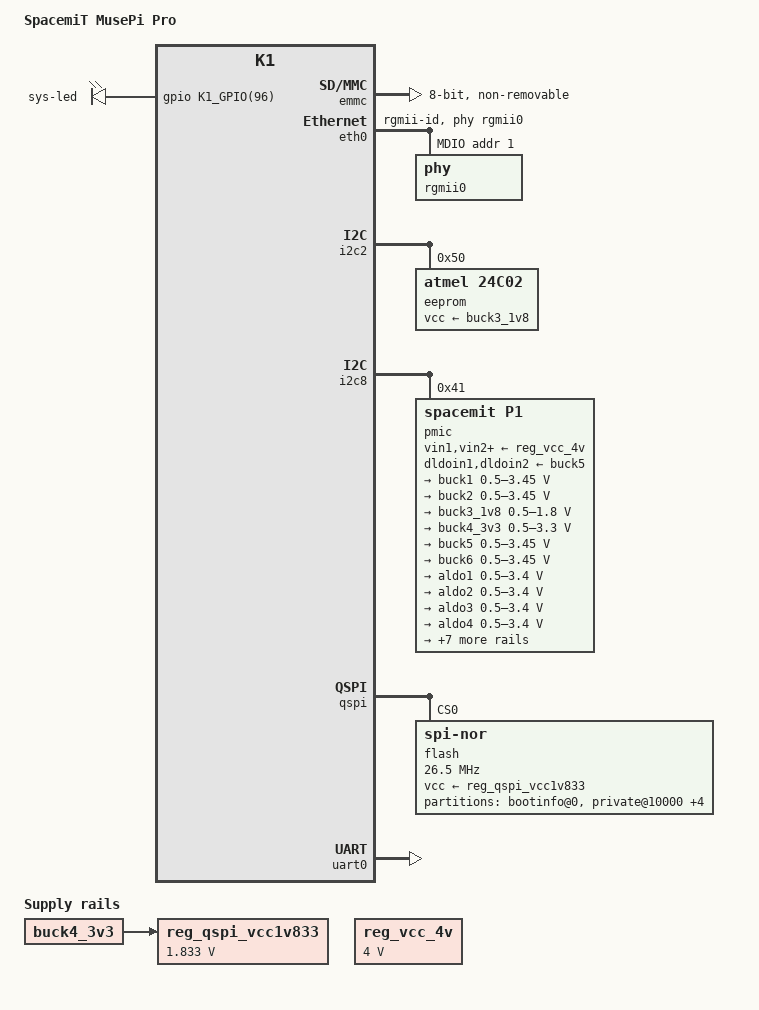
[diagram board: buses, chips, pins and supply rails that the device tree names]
// SPDX-License-Identifier: (GPL-2.0 OR MIT)
/*
 * Copyright (C) 2024 Yangyu Chen <cyy@cyyself.name>
 * Copyright (C) 2025 SpacemiT, Inc
 * Copyright (C) 2025 Troy Mitchell <troy.mitchell@linux.spacemit.com>
 */

/dts-v1/;

#include "k1.dtsi"
#include "k1-pinctrl.dtsi"

/ {
	model = "SpacemiT MusePi Pro";
	compatible = "spacemit,musepi-pro", "spacemit,k1";

	aliases {
		ethernet0 = &eth0;
		serial0 = &uart0;
		i2c2 = &i2c2;
		i2c8 = &i2c8;
	};

	chosen {
		stdout-path = "serial0";
	};

	leds {
		compatible = "gpio-leds";

		led1 {
			label = "sys-led";
			gpios = <&gpio K1_GPIO(96) GPIO_ACTIVE_HIGH>;
			linux,default-trigger = "heartbeat";
			default-state = "on";
		};
	};

	reg_vcc_4v: regulator-vcc-4v {
		compatible = "regulator-fixed";
		regulator-name = "VCC4V0";
		regulator-min-microvolt = <4000000>;
		regulator-max-microvolt = <4000000>;
		regulator-boot-on;
		regulator-always-on;
	};

	reg_qspi_vcc1v833: regulator-qspi-vcc1v833 {
		compatible = "regulator-fixed";
		regulator-name = "QSPI_VCC1833";
		regulator-min-microvolt = <1833000>;
		regulator-max-microvolt = <1833000>;
		regulator-always-on;
		vin-supply = <&buck4_3v3>;
	};
};

&emmc {
	bus-width = <8>;
	mmc-hs400-1_8v;
	mmc-hs400-enhanced-strobe;
	non-removable;
	no-sd;
	no-sdio;
	status = "okay";
};

&eth0 {
	phy-handle = <&rgmii0>;
	phy-mode = "rgmii-id";
	pinctrl-0 = <&gmac0_cfg>;
	pinctrl-names = "default";
	rx-internal-delay-ps = <0>;
	tx-internal-delay-ps = <0>;
	status = "okay";

	mdio-bus {
		#address-cells = <0x1>;
		#size-cells = <0x0>;

		reset-gpios = <&gpio K1_GPIO(110) GPIO_ACTIVE_LOW>;
		reset-delay-us = <10000>;
		reset-post-delay-us = <100000>;

		rgmii0: phy@1 {
			reg = <0x1>;
		};
	};
};

&pdma {
	status = "okay";
};

&i2c2 {
	pinctrl-0 = <&i2c2_0_cfg>;
	pinctrl-names = "default";
	status = "okay";

	eeprom@50 {
		compatible = "atmel,24c02";
		reg = <0x50>;
		vcc-supply = <&buck3_1v8>; /* EEPROM_VCC1V8 */
		pagesize = <8>;
		read-only;
		size = <256>;

		nvmem-layout {
			compatible = "onie,tlv-layout";

			product-name {
			};

			serial-number {
			};

			mac-address {
				#nvmem-cell-cells = <1>;
			};

			num-macs {
			};
		};
	};
};

&i2c8 {
	pinctrl-0 = <&i2c8_cfg>;
	pinctrl-names = "default";
	status = "okay";

	pmic@41 {
		compatible = "spacemit,p1";
		reg = <0x41>;
		interrupts = <64>;
		vin1-supply = <&reg_vcc_4v>;
		vin2-supply = <&reg_vcc_4v>;
		vin3-supply = <&reg_vcc_4v>;
		vin4-supply = <&reg_vcc_4v>;
		vin5-supply = <&reg_vcc_4v>;
		vin6-supply = <&reg_vcc_4v>;
		aldoin-supply = <&reg_vcc_4v>;
		dldoin1-supply = <&buck5>;
		dldoin2-supply = <&buck5>;

		regulators {
			buck1 {
				regulator-min-microvolt = <500000>;
				regulator-max-microvolt = <3450000>;
				regulator-ramp-delay = <5000>;
				regulator-always-on;
			};

			buck2 {
				regulator-min-microvolt = <500000>;
				regulator-max-microvolt = <3450000>;
				regulator-ramp-delay = <5000>;
				regulator-always-on;
			};

			buck3_1v8: buck3 {
				regulator-min-microvolt = <500000>;
				regulator-max-microvolt = <1800000>;
				regulator-ramp-delay = <5000>;
				regulator-always-on;
			};

			buck4_3v3: buck4 {
				regulator-min-microvolt = <500000>;
				regulator-max-microvolt = <3300000>;
				regulator-ramp-delay = <5000>;
				regulator-always-on;
			};

			buck5: buck5 {
				regulator-min-microvolt = <500000>;
				regulator-max-microvolt = <3450000>;
				regulator-ramp-delay = <5000>;
				regulator-always-on;
			};

			buck6 {
				regulator-min-microvolt = <500000>;
				regulator-max-microvolt = <3450000>;
				regulator-ramp-delay = <5000>;
				regulator-always-on;
			};

			aldo1 {
				regulator-min-microvolt = <500000>;
				regulator-max-microvolt = <3400000>;
				regulator-boot-on;
			};

			aldo2 {
				regulator-min-microvolt = <500000>;
				regulator-max-microvolt = <3400000>;
			};

			aldo3 {
				regulator-min-microvolt = <500000>;
				regulator-max-microvolt = <3400000>;
			};

			aldo4 {
				regulator-min-microvolt = <500000>;
				regulator-max-microvolt = <3400000>;
			};

			dldo1 {
				regulator-min-microvolt = <500000>;
				regulator-max-microvolt = <3400000>;
				regulator-boot-on;
			};

			dldo2 {
				regulator-min-microvolt = <500000>;
				regulator-max-microvolt = <3400000>;
			};

			dldo3 {
				regulator-min-microvolt = <500000>;
				regulator-max-microvolt = <3400000>;
			};

			dldo4 {
				regulator-min-microvolt = <500000>;
				regulator-max-microvolt = <3400000>;
				regulator-always-on;
			};

			dldo5 {
				regulator-min-microvolt = <500000>;
				regulator-max-microvolt = <3400000>;
			};

			dldo6 {
				regulator-min-microvolt = <500000>;
				regulator-max-microvolt = <3400000>;
				regulator-always-on;
			};

			dldo7 {
				regulator-min-microvolt = <500000>;
				regulator-max-microvolt = <3400000>;
			};
		};
	};
};

&qspi {
	pinctrl-names = "default";
	pinctrl-0 = <&qspi_cfg>;
	status = "okay";

	flash@0 {
		compatible = "jedec,spi-nor";
		reg = <0>;
		spi-max-frequency = <26500000>;
		spi-rx-bus-width = <4>;
		spi-tx-bus-width = <4>;
		vcc-supply = <&reg_qspi_vcc1v833>;
		m25p,fast-read;

		partitions {
			compatible = "fixed-partitions";
			#address-cells = <1>;
			#size-cells = <1>;

			bootinfo@0 {
				reg = <0x0 0x10000>;
			};
			private@10000 {
				reg = <0x10000 0x10000>;
			};
			fsbl@20000 {
				reg = <0x20000 0x40000>;
			};
			env@60000 {
				reg = <0x60000 0x10000>;
			};
			opensbi@70000 {
				reg = <0x70000 0x30000>;
			};
			uboot@a0000 {
				reg = <0xa0000 0x760000>;
			};
		};
	};
};

&uart0 {
	pinctrl-0 = <&uart0_2_cfg>;
	pinctrl-names = "default";
	status = "okay";
};
